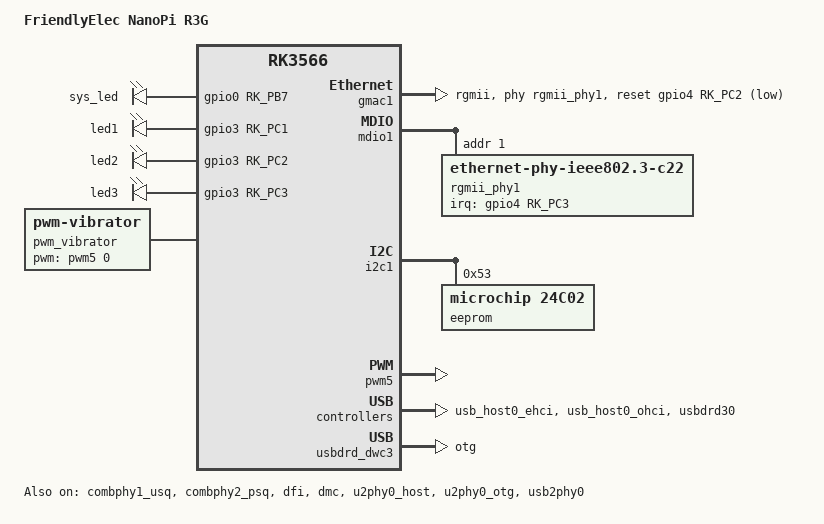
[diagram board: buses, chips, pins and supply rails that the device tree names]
// SPDX-License-Identifier: (GPL-2.0+ OR MIT)
/*
 * Copyright (c) 2024 FriendlyElec Computer Tech. Co., Ltd.
 * (http://www.friendlyarm.com)
 *
 * Copyright (c) 2020 Rockchip Electronics Co., Ltd.
 */

/dts-v1/;

#include "rk3566.dtsi"
#include "rk3568-nanopi5-common.dtsi"

/ {
	model = "FriendlyElec NanoPi R3G";
	compatible = "friendlyelec,nanopi-r3g", "rockchip,rk3566";

	aliases {
		ethernet0 = &gmac1;
	};

	/delete-node/ gpio-keys;

	gpio_leds: gpio-leds {
		compatible = "gpio-leds";

		sys_led: led-0 {
			gpios = <&gpio0 RK_PB7 GPIO_ACTIVE_HIGH>;
			label = "sys_led";
			linux,default-trigger = "heartbeat";
			pinctrl-names = "default";
			pinctrl-0 = <&sys_led_pin>;
		};

		usr_led1: led-1 {
			gpios = <&gpio3 RK_PC1 GPIO_ACTIVE_HIGH>;
			label = "led1";
			pinctrl-names = "default";
			pinctrl-0 = <&usr_led1_pin>;
		};

		usr_led2: led-2 {
			gpios = <&gpio3 RK_PC2 GPIO_ACTIVE_HIGH>;
			label = "led2";
			pinctrl-names = "default";
			pinctrl-0 = <&usr_led2_pin>;
		};

		usr_led3: led-3 {
			gpios = <&gpio3 RK_PC3 GPIO_ACTIVE_HIGH>;
			label = "led3";
			pinctrl-names = "default";
			pinctrl-0 = <&usr_led3_pin>;
		};
	};

	pwm_vibrator: pwm-vibrator {
		compatible = "pwm-vibrator";
		pwm-names = "enable";
		pwms = <&pwm5 0 1000000000 0>;
	};
};

&combphy1_usq {
	status = "okay";
};

&combphy2_psq {
	status = "okay";
};

&dfi {
	status = "okay";
};

&dmc {
	center-supply = <&vdd_logic>;
	status = "okay";
};

&gmac1 {
	phy-mode = "rgmii";
	clock_in_out = "output";

	snps,reset-gpio = <&gpio4 RK_PC2 GPIO_ACTIVE_LOW>;
	snps,reset-active-low;
	/* Reset time is 15ms, 50ms for rtl8211f */
	snps,reset-delays-us = <0 15000 50000>;

	assigned-clocks = <&cru SCLK_GMAC1_RX_TX>, <&cru SCLK_GMAC1>;
	assigned-clock-parents = <&cru SCLK_GMAC1_RGMII_SPEED>, <&cru CLK_MAC1_2TOP>;
	assigned-clock-rates = <0>, <125000000>;

	pinctrl-names = "default";
	pinctrl-0 = <&gmac1m0_miim
		     &gmac1m0_tx_bus2_level3
		     &gmac1m0_rx_bus2
		     &gmac1m0_rgmii_clk_level2
		     &gmac1m0_rgmii_bus_level3>;

	tx_delay = <0x3c>;
	rx_delay = <0x2f>;

	phy-handle = <&rgmii_phy1>;
	status = "okay";
};

&mach {
	hwrev = <7>;
	model = "NanoPi R3G";
	machine = "NANOPI-R3";
};

&mdio1 {
	rgmii_phy1: phy@1 {
		compatible = "ethernet-phy-ieee802.3-c22";
		reg = <0x1>;
		interrupt-parent = <&gpio4>;
		interrupts = <RK_PC3 IRQ_TYPE_LEVEL_LOW>;
		pinctrl-names = "default";
		pinctrl-0 = <&gmac_int>;
		realtek,ledsel = <0xae00>;
	};
};

&i2c1 {
	status = "okay";

	eeprom@53 {
		compatible = "microchip,24c02", "atmel,24c02";
		reg = <0x53>;
		#address-cells = <2>;
		#size-cells = <0>;
		pagesize = <16>;
		size = <256>;

		eui_48: eui-48@fa {
			reg = <0xfa 0x06>;
		};
	};
};

&i2c2 {
	status = "disabled";
};

&i2c5 {
	status = "disabled";
};

&pcie2x1 {
	status = "disabled";
};

&pinctrl {
	gmac {
		gmac_int: gmac-int {
			rockchip,pins =
				<4 RK_PC3 RK_FUNC_GPIO &pcfg_pull_up>;
		};
	};

	gpio-leds {
		sys_led_pin: sys-led-pin {
			rockchip,pins =
				<0 RK_PB7 RK_FUNC_GPIO &pcfg_pull_none>;
		};

		usr_led1_pin: usr-led1-pin {
			rockchip,pins =
				<3 RK_PC1 RK_FUNC_GPIO &pcfg_pull_none>;
		};

		usr_led2_pin: usr-led2-pin {
			rockchip,pins =
				<3 RK_PC2 RK_FUNC_GPIO &pcfg_pull_none>;
		};

		usr_led3_pin: usr-led3-pin {
			rockchip,pins =
				<3 RK_PC3 RK_FUNC_GPIO &pcfg_pull_none>;
		};
	};
};

&pmu_io_domains {
	status = "okay";
	pmuio2-supply = <&vcc3v3_pmu>;
	vccio2-supply = <&vcc_1v8>;
	vccio3-supply = <&vccio_sd>;
	vccio4-supply = <&vcc_3v3>;
	vccio5-supply = <&vcc_1v8>;
	vccio6-supply = <&vcc_3v3>;
	vccio7-supply = <&vcc_3v3>;
};

&pwm0 {
	status = "disabled";
	/* connected with sys_led */
};

&pwm4 {
	status = "disabled";
};

&pwm5 {
	status = "okay";
};

&sata1 {
	status = "disabled";
};

&sata2 {
	status = "disabled";
};

&sfc {
	status = "disabled";
};

&u2phy0_host {
	phy-supply = <&vcc5v0_host>;
	status = "okay";
};

&u2phy0_otg {
	/delete-property/ phy-supply;
	status = "okay";
};

/delete-node/ &vcc5v0_otg;

&u2phy1_host {
	status = "disabled";
};

&u2phy1_otg {
	status = "disabled";
};

&usb2phy0 {
	status = "okay";
};

&usb2phy1 {
	status = "disabled";
};

&usb_host0_ehci {
	status = "okay";
};

&usb_host0_ohci {
	status = "okay";
};

&usb_host1_ehci {
	status = "disabled";
};

&usb_host1_ohci {
	status = "disabled";
};

&usbdrd_dwc3 {
	dr_mode = "otg";
	extcon = <&usb2phy0>;
	status = "okay";
};

&usbdrd30 {
	status = "okay";
};

&usbhost_dwc3 {
	status = "disabled";
};

&usbhost30 {
	status = "disabled";
};
